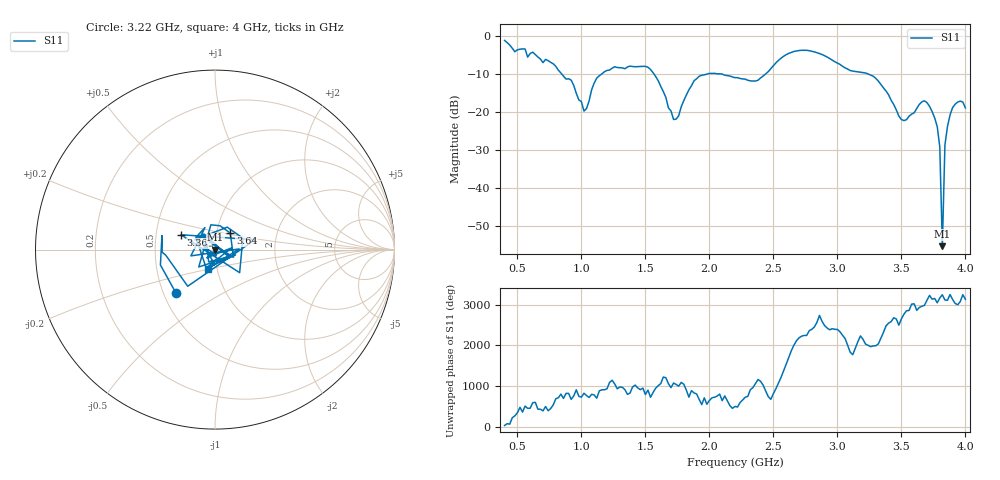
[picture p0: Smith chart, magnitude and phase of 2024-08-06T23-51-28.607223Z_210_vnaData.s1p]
!Created with skrf (http://scikit-rf.org).
# Hz S RI R 50.0
!freq ReS11 ImS11
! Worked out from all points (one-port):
!   181 points, 400 MHz to 4 GHz, reference 50 ohm
!   lowest |S11| = -55.3 dB at 3.82 GHz (marker M1), VSWR 1.00, Z = 50.2 + j0.000727 ohm
!   |S11| at or under -10 dB: 1.566 GHz to 1.986 GHz (420.1 MHz wide, 23.6 % of centre); 2.091 GHz to 2.439 GHz (347.9 MHz wide, 15.4 % of centre); 3.239 GHz to end of sweep (the widest 3 of 4)
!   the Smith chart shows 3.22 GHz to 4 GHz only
!   S11 on the Smith chart (normalised r, x): 3.22 GHz: 0.58, -0.31; 3.36 GHz: 0.67, +0.12; 3.64 GHz: 1.16, +0.22; 4 GHz: 0.90, -0.19
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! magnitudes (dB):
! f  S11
! 400 MHz  -1.2
! 860 MHz  -10.6
! 920 MHz  -11.6
! 1.02 GHz  -19.8
! 1.12 GHz  -11.1
! 1.3 GHz  -8.4
! 1.52 GHz  -8.2
! 1.6 GHz  -11.8
! 1.72 GHz  -22.0
! 1.76 GHz  -21.0
! 1.92 GHz  -10.6
! 2.2 GHz  -11.0
! 2.38 GHz  -11.7
! 2.66 GHz  -4.1
! 3.1 GHz  -9.1
! 3.22 GHz  -9.8
! 3.36 GHz  -13.7
! 3.5 GHz  -22.0
! 3.56 GHz  -21.1
! 3.64 GHz  -18.0
! 3.7 GHz  -17.6
! 3.78 GHz  -23.9
! 3.8 GHz  -29.2
! 3.82 GHz  -55.3
! 3.84 GHz  -28.8
! 3.86 GHz  -23.8
! 3.92 GHz  -18.0
! 4 GHz  -19.0
